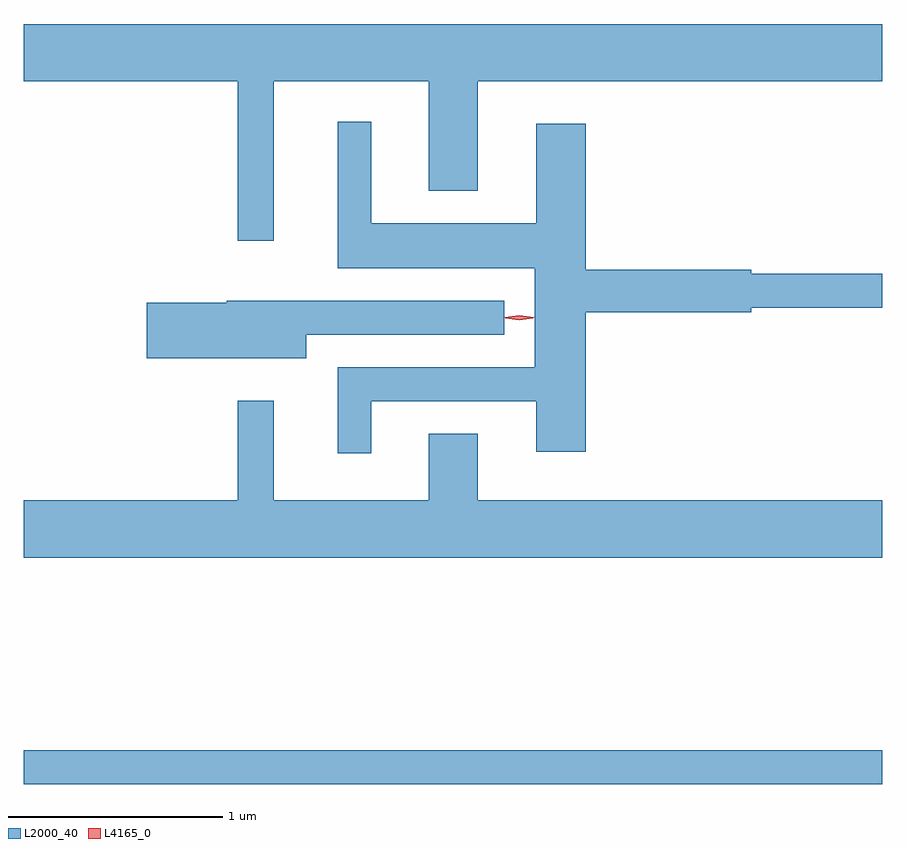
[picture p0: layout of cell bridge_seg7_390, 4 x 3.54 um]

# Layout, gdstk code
import gdstk
lib = gdstk.Library(unit=1e-6, precision=1e-09)
def R(c, l, rs):  # rectangles x0, y0, x1, y1
    for r in rs: c.add(gdstk.rectangle(r[:2], r[2:], *l))
def P(c, l, *ps):  # polygons
    for p in ps: c.add(gdstk.Polygon(p, *l))
L2000_40 = (2000, 40)
L4165_0 = (4165, 0)

bridge_seg7_390 = lib.new_cell('bridge_seg7_390')
R(bridge_seg7_390, L2000_40, [(1058.694,1790.961,1062.694,1791.119)])
P(bridge_seg7_390, L2000_40, [(1059.859,1794.236),(1060.581,1794.236),(1060.581,1793.726),(1060.809,1793.726),(1060.809,1794.236),(1062.694,1794.236),(1062.694,1794.504),(1058.694,1794.504),(1058.694,1794.236),(1059.691,1794.236),(1059.691,1793.493),(1059.859,1793.493)],
  [(1060.314,1792.746),(1061.081,1792.746),(1061.081,1792.511),(1061.314,1792.511),(1061.314,1793.161),(1062.084,1793.161),(1062.084,1793.181),(1062.694,1793.181),(1062.694,1793.339),(1062.084,1793.339),(1062.084,1793.359),(1061.314,1793.359),(1061.314,1794.039),(1061.081,1794.039),(1061.081,1793.574),(1060.314,1793.574),(1060.314,1794.048),(1060.156,1794.048),(1060.156,1793.366),(1061.076,1793.366),(1061.076,1792.904),(1060.156,1792.904),(1060.156,1792.503),(1060.314,1792.503)],
  [(1060.009,1793.056),(1060.933,1793.056),(1060.933,1793.214),(1059.64,1793.214),(1059.64,1793.204),(1059.266,1793.204),(1059.266,1792.946),(1060.009,1792.946)],
  [(1062.694,1792.284),(1060.809,1792.284),(1060.809,1792.594),(1060.581,1792.594),(1060.581,1792.284),(1059.859,1792.284),(1059.859,1792.748),(1059.691,1792.748),(1059.691,1792.284),(1058.694,1792.284),(1058.694,1792.016),(1062.694,1792.016)])
P(bridge_seg7_390, L4165_0, [(1061.003,1793.123),(1060.938,1793.133),(1060.937,1793.133),(1060.938,1793.134),(1061.003,1793.143),(1061.068,1793.134),(1061.068,1793.133),(1061.068,1793.133)],
  [(1061.004,1793.127),(1060.934,1793.136),(1060.934,1793.136),(1060.934,1793.137),(1061.004,1793.147),(1061.072,1793.137),(1061.073,1793.137),(1061.072,1793.136)])

lib.write_gds('bridge_seg7_390.gds')
